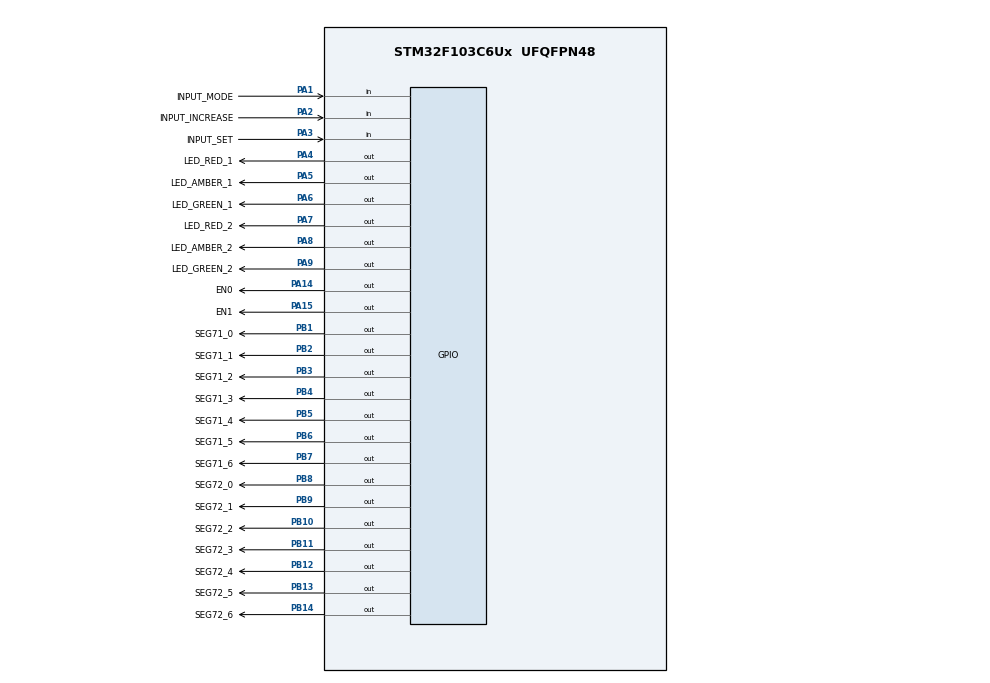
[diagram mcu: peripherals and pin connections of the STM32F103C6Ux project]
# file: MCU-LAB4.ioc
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Mcu.Family=STM32F1
Mcu.Name=STM32F103C6Ux
Mcu.Package=UFQFPN48
NVIC.PriorityGroup=NVIC_PRIORITYGROUP_4
NVIC.TIM2_IRQn=true\:0\:0\:false\:false\:true\:true\:true\:true
PA1.GPIO_Label=INPUT_MODE
PA1.GPIO_PuPd=GPIO_PULLUP
PA1.Signal=GPIO_Input
PA14.GPIO_Label=EN0
PA14.Signal=GPIO_Output
PA15.GPIO_Label=EN1
PA15.Signal=GPIO_Output
PA2.GPIO_Label=INPUT_INCREASE
PA2.GPIO_PuPd=GPIO_PULLUP
PA2.Signal=GPIO_Input
PA3.GPIO_Label=INPUT_SET
PA3.GPIO_PuPd=GPIO_PULLUP
PA3.Signal=GPIO_Input
PA4.GPIO_Label=LED_RED_1
PA4.Signal=GPIO_Output
PA5.GPIO_Label=LED_AMBER_1
PA5.Signal=GPIO_Output
PA6.GPIO_Label=LED_GREEN_1
PA6.Signal=GPIO_Output
PA7.GPIO_Label=LED_RED_2
PA7.Signal=GPIO_Output
PA8.GPIO_Label=LED_AMBER_2
PA8.Signal=GPIO_Output
PA9.GPIO_Label=LED_GREEN_2
PA9.Signal=GPIO_Output
PB1.GPIO_Label=SEG71_0
PB1.Signal=GPIO_Output
PB10.GPIO_Label=SEG72_2
PB10.Signal=GPIO_Output
PB11.GPIO_Label=SEG72_3
PB11.Signal=GPIO_Output
PB12.GPIO_Label=SEG72_4
PB12.Signal=GPIO_Output
PB13.GPIO_Label=SEG72_5
PB13.Signal=GPIO_Output
PB14.GPIO_Label=SEG72_6
PB14.Signal=GPIO_Output
PB2.GPIO_Label=SEG71_1
PB2.Signal=GPIO_Output
PB3.GPIO_Label=SEG71_2
PB3.Signal=GPIO_Output
PB4.GPIO_Label=SEG71_3
PB4.Signal=GPIO_Output
PB5.GPIO_Label=SEG71_4
PB5.Signal=GPIO_Output
PB6.GPIO_Label=SEG71_5
PB6.Signal=GPIO_Output
PB7.GPIO_Label=SEG71_6
PB7.Signal=GPIO_Output
PB8.GPIO_Label=SEG72_0
PB8.Signal=GPIO_Output
PB9.GPIO_Label=SEG72_1
PB9.Signal=GPIO_Output
ProjectManager.HeapSize=0x200
ProjectManager.StackSize=0x400
ProjectManager.TargetToolchain=STM32CubeIDE
RCC.APB1Freq_Value=8000000
RCC.APB2Freq_Value=8000000
TIM2.Period=9
TIM2.Prescaler=7999
VP_SYS_VS_ND.Mode=No_Debug
VP_TIM2_VS_ClockSourceINT.Mode=Internal
board=custom

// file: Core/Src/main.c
/* USER CODE BEGIN Header */
/**
  ******************************************************************************
  * @file           : main.c
  * @brief          : Main program body
  ******************************************************************************
  * @attention
  *
  * Copyright (c) 2024 STMicroelectronics.
  * All rights reserved.
  *
  * This software is licensed under terms that can be found in the LICENSE file
  * in the root directory of this software component.
  * If no LICENSE file comes with this software, it is provided AS-IS.
  *
  ******************************************************************************
  */
/* USER CODE END Header */
#include "main.h"

/* USER CODE BEGIN Includes */
#include "sched.h"
#include "fsm_traffic_mode.h"
#include "fsm_input_processing.h"
#include "input_reading.h"
#include "global.h"
/* USER CODE END Includes */

TIM_HandleTypeDef htim2;

void SystemClock_Config(void);
static void MX_GPIO_Init(void);
static void MX_TIM2_Init(void);

/* USER CODE BEGIN 0 */
//void one_sec_count(void){
//	one_sec_flag = 1;
//}

/* USER CODE END 0 */

int main(void)
{

  /* MCU Configuration--------------------------------------------------------*/

  /* Reset of all peripherals, Initializes the Flash interface and the Systick. */
  HAL_Init();

  /* Configure the system clock */
  SystemClock_Config();

  /* Initialize all configured peripherals */
  MX_GPIO_Init();
  MX_TIM2_Init();
  /* USER CODE BEGIN 2 */
  HAL_TIM_Base_Start_IT(&htim2);

  timer_init(HAL_RCC_GetHCLKFreq(), htim2.Init.Prescaler, htim2.Init.Period);

  SCH_Init();
  SCH_Add_Task(button_reading, 10, 10);

  init_button_reading();
  init_fsm_input_processing();
  init_fsm_traffic_mode();
  /* USER CODE END 2 */

  /* Infinite loop */
  /* USER CODE BEGIN WHILE */
  while (1)
  {
	  SCH_Dispatch_Tasks();
	  fsm_input_processing();
	  fsm_traffic_mode();
    /* USER CODE END WHILE */

  }
}

void SystemClock_Config(void)
{
  RCC_OscInitTypeDef RCC_OscInitStruct = {0};
  RCC_ClkInitTypeDef RCC_ClkInitStruct = {0};

  /** Initializes the RCC Oscillators according to the specified parameters
  * in the RCC_OscInitTypeDef structure.
  */
  RCC_OscInitStruct.OscillatorType = RCC_OSCILLATORTYPE_HSI;
  RCC_OscInitStruct.HSIState = RCC_HSI_ON;
  RCC_OscInitStruct.HSICalibrationValue = RCC_HSICALIBRATION_DEFAULT;
  RCC_OscInitStruct.PLL.PLLState = RCC_PLL_NONE;
  if (HAL_RCC_OscConfig(&RCC_OscInitStruct) != HAL_OK)
  {
    Error_Handler();
  }

  /** Initializes the CPU, AHB and APB buses clocks
  */
  RCC_ClkInitStruct.ClockType = RCC_CLOCKTYPE_HCLK|RCC_CLOCKTYPE_SYSCLK
                              |RCC_CLOCKTYPE_PCLK1|RCC_CLOCKTYPE_PCLK2;
  RCC_ClkInitStruct.SYSCLKSource = RCC_SYSCLKSOURCE_HSI;
  RCC_ClkInitStruct.AHBCLKDivider = RCC_SYSCLK_DIV1;
  RCC_ClkInitStruct.APB1CLKDivider = RCC_HCLK_DIV1;
  RCC_ClkInitStruct.APB2CLKDivider = RCC_HCLK_DIV1;

  if (HAL_RCC_ClockConfig(&RCC_ClkInitStruct, FLASH_LATENCY_0) != HAL_OK)
  {
    Error_Handler();
  }
}

static void MX_TIM2_Init(void)
{

  TIM_ClockConfigTypeDef sClockSourceConfig = {0};
  TIM_MasterConfigTypeDef sMasterConfig = {0};

  htim2.Instance = TIM2;
  htim2.Init.Prescaler = 7999;
  htim2.Init.CounterMode = TIM_COUNTERMODE_UP;
  htim2.Init.Period = 9;
  htim2.Init.ClockDivision = TIM_CLOCKDIVISION_DIV1;
  htim2.Init.AutoReloadPreload = TIM_AUTORELOAD_PRELOAD_DISABLE;
  if (HAL_TIM_Base_Init(&htim2) != HAL_OK)
  {
    Error_Handler();
  }
  sClockSourceConfig.ClockSource = TIM_CLOCKSOURCE_INTERNAL;
  if (HAL_TIM_ConfigClockSource(&htim2, &sClockSourceConfig) != HAL_OK)
  {
    Error_Handler();
  }
  sMasterConfig.MasterOutputTrigger = TIM_TRGO_RESET;
  sMasterConfig.MasterSlaveMode = TIM_MASTERSLAVEMODE_DISABLE;
  if (HAL_TIMEx_MasterConfigSynchronization(&htim2, &sMasterConfig) != HAL_OK)
  {
    Error_Handler();
  }

}

static void MX_GPIO_Init(void)
{
  GPIO_InitTypeDef GPIO_InitStruct = {0};

  /* GPIO Ports Clock Enable */
  __HAL_RCC_GPIOA_CLK_ENABLE();
  __HAL_RCC_GPIOB_CLK_ENABLE();

  /*Configure GPIO pin Output Level */
  HAL_GPIO_WritePin(GPIOA, LED_RED_1_Pin|LED_AMBER_1_Pin|LED_GREEN_1_Pin|LED_RED_2_Pin
                          |LED_AMBER_2_Pin|LED_GREEN_2_Pin|EN0_Pin|EN1_Pin, GPIO_PIN_RESET);

  /*Configure GPIO pin Output Level */
  HAL_GPIO_WritePin(GPIOB, SEG71_0_Pin|SEG71_1_Pin|SEG72_2_Pin|SEG72_3_Pin
                          |SEG72_4_Pin|SEG72_5_Pin|SEG72_6_Pin|SEG71_2_Pin
                          |SEG71_3_Pin|SEG71_4_Pin|SEG71_5_Pin|SEG71_6_Pin
                          |SEG72_0_Pin|SEG72_1_Pin, GPIO_PIN_RESET);

  /*Configure GPIO pins : INPUT_MODE_Pin INPUT_INCREASE_Pin INPUT_SET_Pin */
  GPIO_InitStruct.Pin = INPUT_MODE_Pin|INPUT_INCREASE_Pin|INPUT_SET_Pin;
  GPIO_InitStruct.Mode = GPIO_MODE_INPUT;
  GPIO_InitStruct.Pull = GPIO_PULLUP;
  HAL_GPIO_Init(GPIOA, &GPIO_InitStruct);

  /*Configure GPIO pins : LED_RED_1_Pin LED_AMBER_1_Pin LED_GREEN_1_Pin LED_RED_2_Pin
                           LED_AMBER_2_Pin LED_GREEN_2_Pin EN0_Pin EN1_Pin */
  GPIO_InitStruct.Pin = LED_RED_1_Pin|LED_AMBER_1_Pin|LED_GREEN_1_Pin|LED_RED_2_Pin
                          |LED_AMBER_2_Pin|LED_GREEN_2_Pin|EN0_Pin|EN1_Pin;
  GPIO_InitStruct.Mode = GPIO_MODE_OUTPUT_PP;
  GPIO_InitStruct.Pull = GPIO_NOPULL;
  GPIO_InitStruct.Speed = GPIO_SPEED_FREQ_LOW;
  HAL_GPIO_Init(GPIOA, &GPIO_InitStruct);

  /*Configure GPIO pins : SEG71_0_Pin SEG71_1_Pin SEG72_2_Pin SEG72_3_Pin
                           SEG72_4_Pin SEG72_5_Pin SEG72_6_Pin SEG71_2_Pin
                           SEG71_3_Pin SEG71_4_Pin SEG71_5_Pin SEG71_6_Pin
                           SEG72_0_Pin SEG72_1_Pin */
  GPIO_InitStruct.Pin = SEG71_0_Pin|SEG71_1_Pin|SEG72_2_Pin|SEG72_3_Pin
                          |SEG72_4_Pin|SEG72_5_Pin|SEG72_6_Pin|SEG71_2_Pin
                          |SEG71_3_Pin|SEG71_4_Pin|SEG71_5_Pin|SEG71_6_Pin
                          |SEG72_0_Pin|SEG72_1_Pin;
  GPIO_InitStruct.Mode = GPIO_MODE_OUTPUT_PP;
  GPIO_InitStruct.Pull = GPIO_NOPULL;
  GPIO_InitStruct.Speed = GPIO_SPEED_FREQ_LOW;
  HAL_GPIO_Init(GPIOB, &GPIO_InitStruct);

}

/* USER CODE BEGIN 4 */
void HAL_TIM_PeriodElapsedCallback(TIM_HandleTypeDef *htim){
	if(htim->Instance == TIM2){
		// TODO //
		SCH_Update();
	}
}
/* USER CODE END 4 */

void Error_Handler(void)
{
  __disable_irq();
  while (1)
  {
  }
}
